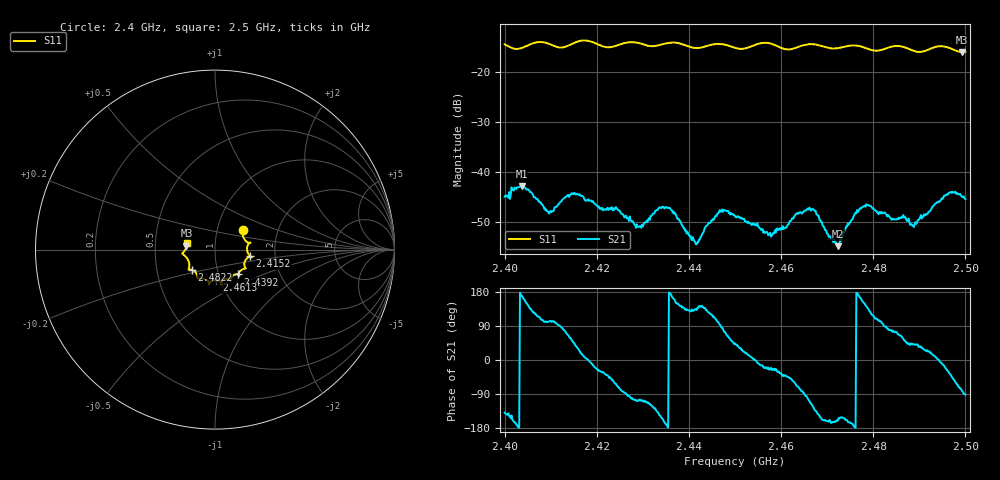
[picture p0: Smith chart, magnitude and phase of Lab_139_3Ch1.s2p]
# Hz S RI R 50
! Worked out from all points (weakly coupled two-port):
!   601 points, 2.4 GHz to 2.5 GHz, reference 50 ohm
!   highest |S21| = -42.88 dB at 2.4037 GHz (marker M1); lowest = -54.9 dB at 2.4723 GHz (marker M2)
!   lowest |S11| = -15.9 dB at 2.4993 GHz (marker M3), VSWR 1.38, Z = 36.3 + j1.63 ohm
!   |S11| at or under -10 dB: start of sweep to end of sweep
!   S12 and S22 are empty: the file has one direction only
!   S11 on the Smith chart (normalised r, x): 2.4 GHz: 1.33, +0.31; 2.4152 GHz: 1.48, -0.11; 2.4392 GHz: 1.23, -0.35; 2.4613 GHz: 0.96, -0.34; 2.4822 GHz: 0.76, -0.17; 2.5 GHz: 0.73, +0.05
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2.4e9  0.1556 0.1113  -0.00423 -0.00371  0 0  0 0
2.403667e9  0.1679 0.0525  -0.00706 0.00129  0 0  0 0
2.409667e9  0.1902 0.0354  -0.000813 0.00372  0 0  0 0
2.415167e9  0.1952 -0.0366  0.00442 0.00427  0 0  0 0
2.416667e9  0.2045 -0.0426  0.00547 0.00169  0 0  0 0
2.428833e9  0.1687 -0.1053  -0.000787 -0.0027  0 0  0 0
2.433333e9  0.1322 -0.1326  -0.00321 -0.00278  0 0  0 0
2.439167e9  0.127 -0.1383  -0.00175 0.00187  0 0  0 0
2.441833e9  0.1003 -0.1445  -0.00144 0.00132  0 0  0 0
2.446667e9  0.0852 -0.1737  -0.000235 0.00412  0 0  0 0
2.45e9  0.0683 -0.1634  0.00259 0.00249  0 0  0 0
2.457667e9  0.0397 -0.1916  0.00227 -0.000882  0 0  0 0
2.461333e9  0.00753 -0.1702  0.00209 -0.00198  0 0  0 0
2.466667e9  -0.0327 -0.1898  -0.00193 -0.00373  0 0  0 0
2.472333e9  -0.0692 -0.1612  -0.00168 -0.000621  0 0  0 0
2.4775e9  -0.0962 -0.1538  -0.00408 0.00164  0 0  0 0
2.482167e9  -0.1285 -0.1121  -0.000284 0.00385  0 0  0 0
2.483333e9  -0.1397 -0.1105  0.000656 0.00356  0 0  0 0
2.488833e9  -0.1429 -0.0815  0.0021 0.00184  0 0  0 0
2.496167e9  -0.1778 -0.0166  0.00518 -0.00282  0 0  0 0
2.499333e9  -0.1588 0.0219  0.000736 -0.00552  0 0  0 0
2.5e9  -0.1581 0.0341  -0.000147 -0.00533  0 0  0 0
